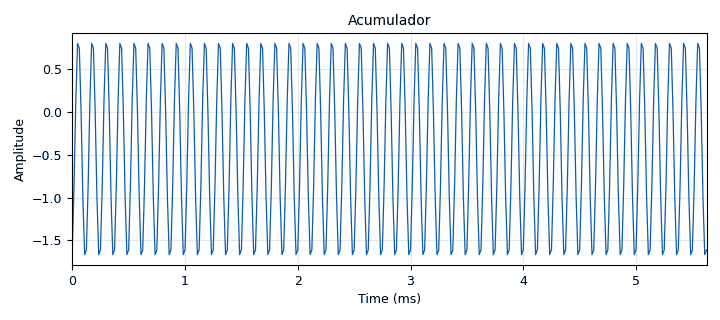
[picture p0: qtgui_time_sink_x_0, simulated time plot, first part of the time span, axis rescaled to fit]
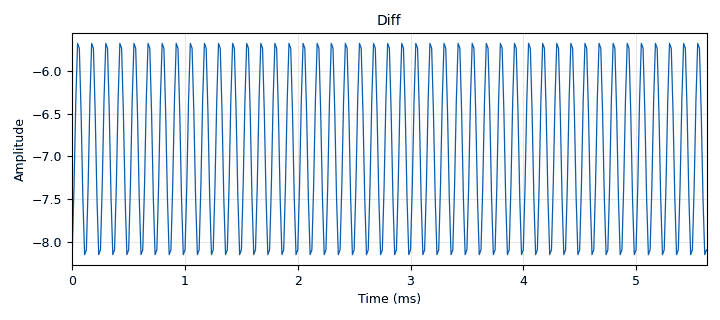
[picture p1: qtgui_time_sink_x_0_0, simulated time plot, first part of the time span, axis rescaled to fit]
options:
  parameters:
    generate_options: qt_gui
    id: lab_1
    output_language: python
    title: Not titled yet
  states: {}

blocks:
- name: samp_rate
  id: variable
  parameters:
    value: '32000'
  states: {}
- name: analog_noise_source_x_0
  id: analog_noise_source_x
  parameters:
    amp: '1'
    noise_type: analog.GR_GAUSSIAN
    seed: '0'
    type: complex
  states: {}
- name: analog_sig_source_x_0
  id: analog_sig_source_x
  parameters:
    amp: '1'
    freq: '100000'
    offset: '0'
    phase: '0'
    samp_rate: samp_rate
    type: float
    waveform: analog.GR_SIN_WAVE
  states: {}
- name: blocks_vector_source_x_0
  id: blocks_vector_source_x
  parameters:
    repeat: 'True'
    type: float
    vector: (1, 2, -1)
  states: {state: disabled}
- name: epy_block_0
  id: epy_block
  parameters:
    _source_code: |
      """
      Embedded Python Blocks:

      Each time this file is saved, GRC will instantiate the first class it finds
      to get ports and parameters of your block. The arguments to __init__  will
      be the parameters. All of them are required to have default values!
      """

      import numpy as np
      from gnuradio import gr


      class blk (gr. sync_block ):
          def __init__ ( self,additionFlag = True) : 
              gr. sync_block . __init__ (
                  self ,
                  name ='e_Acum', 
                  in_sig =[ np. float32 ],
                  out_sig =[ np. float32 ]
              )
              self.additionFlag = additionFlag
          def work (self , input_items , output_items ):
              x = input_items [0] 
              y0 = output_items [0] 
              
              y0 [:] = np. cumsum (x)
              
              return len (y0)
    additionFlag: '1'
  states: {}
- name: epy_block_1
  id: epy_block
  parameters:
    _source_code: |
      """
      Embedded Python Blocks:

      Each time this file is saved, GRC will instantiate the first class it finds
      to get ports and parameters of your block. The arguments to __init__  will
      be the parameters. All of them are required to have default values!
      """

      import numpy as np
      from gnuradio import gr

      class blk (gr. sync_block ):

          def __init__ (self,additionFlag = True): 
              gr. sync_block . __init__ (
                  self ,
                  name = 'e_Diff' ,
                  in_sig =[ np. float32 ],
                  out_sig =[ np. float32 ],  
          )
              self.acum_anterior = 0
              self.additionFlag = additionFlag 
          def work (self , input_items , output_items ):
              x = input_items [0] 
              y0 = output_items [0] 
              N = len(x)
              diff = np.cumsum (x) - self.acum_anterior
              self.acum_anterior = diff [N -1]
              y0 [:] = diff
              return len (y0)
    additionFlag: '1'
  states: {}
- name: epy_block_2
  id: epy_block
  parameters:
    _source_code: |
      import numpy as np
      from gnuradio import gr
      class blk (gr. sync_block ):
          def __init__ ( self ) : 
              gr. sync_block . __init__ (
              self ,
              name ="Promedios_de_tiempos ",
              in_sig =[ np. float32 ],
              out_sig =[ np. float32 ,np. float32 ,np. float32 ,np. float32 ,np. float32 ]
              )
              self . acum_anterior = 0
              self . Ntotales = 0
              self . acum_anterior1 = 0
              self . acum_anterior2 = 0
          def work (self , input_items , output_items ):
              x = input_items [0] 
              y0 = output_items [0]
              y1 = output_items [1] 
              y2 = output_items [2]
              y3 = output_items [3] 
              y4 = output_items [4] 
              N = len (x)
              self . Ntotales = self . Ntotales + N
              acumulado = self . acum_anterior + np. cumsum (x)
              self . acum_anterior = acumulado [N -1]
              y0 [:]= acumulado / self . Ntotales
              x2=np. multiply (x,x)
              acumulado1 = self . acum_anterior1 + np. cumsum (x2)
              self . acum_anterior1 = acumulado [N -1]
              y1 [:] = acumulado1 / self . Ntotales
              y2 [:] = np. sqrt (y1)
              # Calculo de la potencia promedio
              y3 [:] = np. multiply (y2 ,y2)
              x3 = np. multiply (x-y0 ,x-y0)
              acumulado2 = self . acum_anterior2 + np. cumsum (x3)
              self . acum_anterior2 = acumulado2 [N -1]
              y4 [:] = np. sqrt ( acumulado2 / self . Ntotales )
              return len (x)
  states: {}
- name: qtgui_number_sink_0
  id: qtgui_number_sink
  parameters:
    graph_type: qtgui.NUM_GRAPH_HORIZ
    name: Media cuadratica
    type: float
  states: {}
- name: qtgui_number_sink_1
  id: qtgui_number_sink
  parameters:
    graph_type: qtgui.NUM_GRAPH_HORIZ
    name: Potencia promedio
    type: float
  states: {}
- name: qtgui_number_sink_2
  id: qtgui_number_sink
  parameters:
    graph_type: qtgui.NUM_GRAPH_HORIZ
    name: RMS
    type: float
  states: {}
- name: qtgui_number_sink_3
  id: qtgui_number_sink
  parameters:
    graph_type: qtgui.NUM_GRAPH_HORIZ
    name: Desviacion estandar
    type: float
  states: {}
- name: qtgui_number_sink_4
  id: qtgui_number_sink
  parameters:
    graph_type: qtgui.NUM_GRAPH_HORIZ
    name: Media
    type: float
  states: {}
- name: qtgui_time_sink_x_0
  id: qtgui_time_sink_x
  parameters:
    name: Acumulador
    size: '1024'
    srate: 2*samp_rate
    type: float
  states: {}
- name: qtgui_time_sink_x_0_0
  id: qtgui_time_sink_x
  parameters:
    name: Diff
    size: '1024'
    srate: 2*samp_rate
    type: float
  states: {}
- name: qtgui_time_sink_x_1
  id: qtgui_time_sink_x
  parameters:
    name: señal de entrada
    size: '1024'
    srate: samp_rate
    type: float
  states: {state: disabled}

connections:
- [analog_sig_source_x_0, '0', epy_block_0, '0']
- [analog_sig_source_x_0, '0', epy_block_1, '0']
- [analog_sig_source_x_0, '0', epy_block_2, '0']
- [analog_sig_source_x_0, '0', qtgui_time_sink_x_1, '0']
- [blocks_vector_source_x_0, '0', epy_block_0, '0']
- [blocks_vector_source_x_0, '0', epy_block_1, '0']
- [blocks_vector_source_x_0, '0', epy_block_2, '0']
- [epy_block_0, '0', qtgui_time_sink_x_0, '0']
- [epy_block_1, '0', qtgui_time_sink_x_0_0, '0']
- [epy_block_2, '0', qtgui_number_sink_4, '0']
- [epy_block_2, '1', qtgui_number_sink_0, '0']
- [epy_block_2, '2', qtgui_number_sink_2, '0']
- [epy_block_2, '3', qtgui_number_sink_1, '0']
- [epy_block_2, '4', qtgui_number_sink_3, '0']

metadata:
  file_format: 1
  grc_version: v3.10.11.0-89-ga17f69e7
